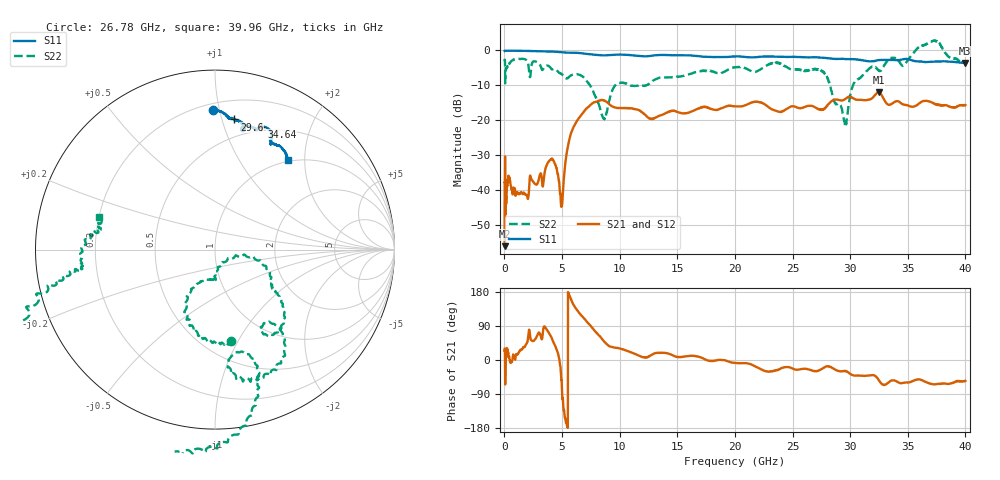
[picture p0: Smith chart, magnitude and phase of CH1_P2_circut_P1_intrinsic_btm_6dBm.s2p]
!Keysight Technologies,N5222B,MY61257109,A.17.25.03
!Date: Wednesday, July 22, 2026 17:24:45
!Correction: S11(C  2-Port  )
!S21(C  2-Port  )
!S12(C  2-Port  )
!S22(C  2-Port  )
!S2P File: Measurements: S11, S21, S12, S22:
# Hz S  dB  R 50
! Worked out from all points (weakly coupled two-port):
!   4000 points, 10 MHz to 40 GHz, reference 50 ohm
!   highest |S21| = -12.10 dB at 32.46 GHz (marker M1); lowest = -55.9 dB at 10 MHz (marker M2)
!   lowest |S11| = -3.8 dB at 39.97 GHz (marker M3), VSWR 4.61, Z = 48.6 + j82.9 ohm
!   |S11| at or under -10 dB: nowhere
!   |S22| runs from -21.8 to 2.6 dB; largest |S21 - S12| = 0.0042
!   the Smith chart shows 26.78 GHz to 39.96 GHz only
!   S11 on the Smith chart (normalised r, x): 26.78 GHz: 0.25, +0.96; 29.6 GHz: 0.35, +1.10; 34.64 GHz: 0.46, +1.34; 39.96 GHz: 0.97, +1.66
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1e7  -0.39 179.9  -55.92 24.9  -55.67 26.3  -2.62 -49.4
6e8  -0.35 177.3  -39.66 -3.9  -39.68 -3.8  -3.27 165.7
1.73e9  -0.37 172.3  -40.80 34.1  -40.77 34.1  -2.71 101.5
4.08e9  -0.56 161.7  -31.13 59.7  -31.12 59.5  -5.57 33.9
4.95e9  -0.76 157.9  -43.98 -52.5  -45.05 -64.9  -6.95 18.2
6.68e9  -1.05 151.1  -18.55 117.1  -18.50 117.4  -7.42 -5.7
8.62e9  -1.65 146.9  -14.44 49.8  -14.46 49.7  -19.54 8.7
1.334e10  -1.57 134.2  -18.96 18.8  -18.94 19.2  -8.15 8.5
2.001e10  -1.93 113.2  -16.13 -7.9  -16.13 -6.6  -5.06 -29.3
2.667e10  -2.21 91.3  -16.00 -27.7  -16.00 -27.7  -5.80 -78.4
2.678e10  -2.20 90.8  -16.11 -28.8  -16.10 -28.8  -5.69 -79.9
2.96e10  -2.70 81.6  -14.02 -29.4  -14.02 -29.4  -21.06 -51.7
3.039e10  -2.75 79.1  -14.07 -41.2  -14.08 -41.2  -9.23 -26.1
3.246e10  -3.03 76.9  -12.10 -51.9  -12.17 -51.7  -5.98 -59.3
3.334e10  -2.93 73.1  -15.70 -59.0  -15.70 -59.0  -2.83 -59.4
3.464e10  -2.71 69.3  -15.65 -60.2  -15.66 -60.2  -4.63 -75.4
3.565e10  -3.28 63.0  -16.06 -53.0  -16.04 -52.7  -0.37 -79.2
3.693e10  -3.51 62.0  -14.80 -62.5  -14.80 -62.1  2.09 -116.7
3.77e10  -3.39 59.6  -15.78 -62.8  -15.75 -62.7  1.90 -151.7
3.996e10  -3.82 51.0  -15.75 -55.8  -15.77 -55.2  -3.43 164.5
3.997e10  -3.83 50.9  -15.75 -55.7  -15.77 -55.1  -3.47 164.5
4e10  -3.80 50.6  -15.79 -55.2  -15.79 -55.0  -3.66 163.7
